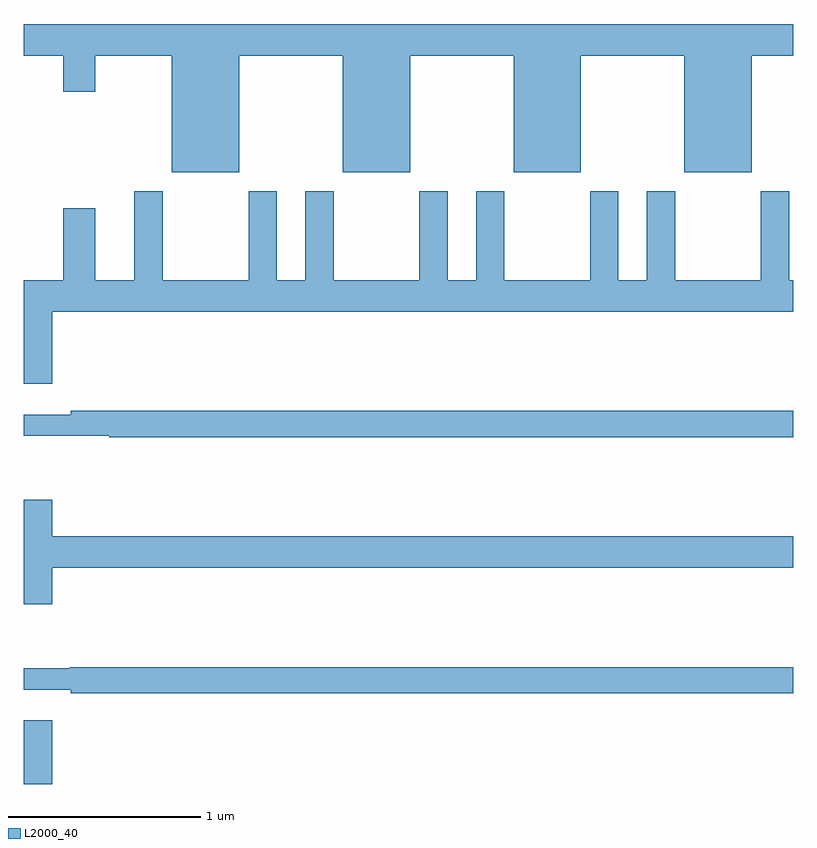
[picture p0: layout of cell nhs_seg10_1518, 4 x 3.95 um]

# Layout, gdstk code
import gdstk
lib = gdstk.Library(unit=1e-6, precision=1e-09)
def R(c, l, rs):  # rectangles x0, y0, x1, y1
    for r in rs: c.add(gdstk.rectangle(r[:2], r[2:], *l))
def P(c, l, *ps):  # polygons
    for p in ps: c.add(gdstk.Polygon(p, *l))
L2000_40 = (2000, 40)

nhs_seg10_1518 = lib.new_cell('nhs_seg10_1518')
R(nhs_seg10_1518, L2000_40, [(189,1324.5,189.148,1324.831)])
P(nhs_seg10_1518, L2000_40, [(190.12,1328.288),(190.658,1328.288),(190.658,1327.682),(191.008,1327.682),(191.008,1328.288),(191.546,1328.288),(191.546,1327.682),(191.896,1327.682),(191.896,1328.288),(192.434,1328.288),(192.434,1327.682),(192.784,1327.682),(192.784,1328.288),(193,1328.288),(193,1328.452),(189,1328.452),(189,1328.288),(189.206,1328.288),(189.206,1328.1),(189.37,1328.1),(189.37,1328.288),(189.77,1328.288),(189.77,1327.682),(190.12,1327.682)],
  [(193,1327.12),(192.979,1327.12),(192.979,1327.582),(192.832,1327.582),(192.832,1327.12),(192.387,1327.12),(192.387,1327.582),(192.239,1327.582),(192.239,1327.12),(192.091,1327.12),(192.091,1327.582),(191.944,1327.582),(191.944,1327.12),(191.499,1327.12),(191.499,1327.582),(191.351,1327.582),(191.351,1327.12),(191.203,1327.12),(191.203,1327.582),(191.056,1327.582),(191.056,1327.12),(190.611,1327.12),(190.611,1327.582),(190.463,1327.582),(190.463,1327.12),(190.315,1327.12),(190.315,1327.582),(190.168,1327.582),(190.168,1327.12),(189.723,1327.12),(189.723,1327.582),(189.575,1327.582),(189.575,1327.12),(189.37,1327.12),(189.37,1327.495),(189.206,1327.495),(189.206,1327.12),(189,1327.12),(189,1326.582),(189.148,1326.582),(189.148,1326.956),(193,1326.956)],
  [(193,1326.44),(189.244,1326.44),(189.244,1326.421),(189,1326.421),(189,1326.312),(189.445,1326.312),(189.445,1326.304),(193,1326.304)],
  [(189.148,1325.624),(193,1325.624),(193,1325.788),(189.148,1325.788),(189.148,1325.977),(189,1325.977),(189,1325.436),(189.148,1325.436)],
  [(193,1325.108),(189.238,1325.108),(189.238,1325.101),(189,1325.101),(189,1324.991),(189.244,1324.991),(189.244,1324.972),(193,1324.972)])

lib.write_gds('nhs_seg10_1518.gds')
